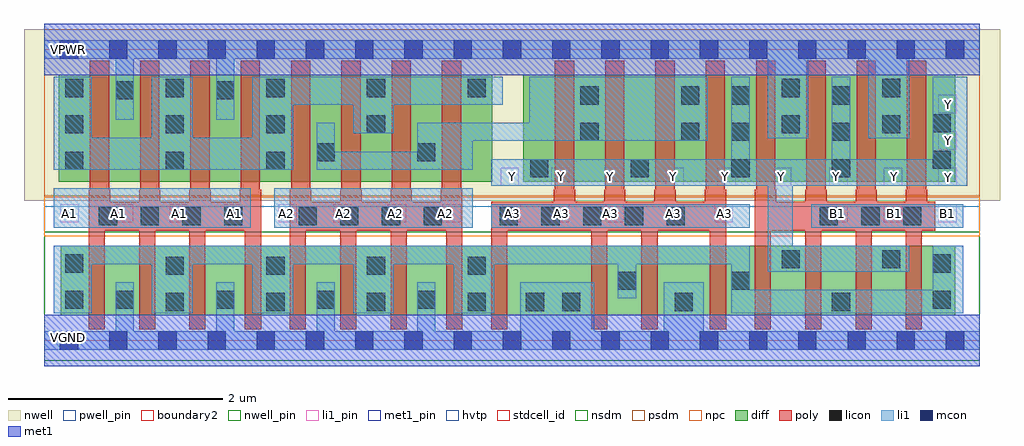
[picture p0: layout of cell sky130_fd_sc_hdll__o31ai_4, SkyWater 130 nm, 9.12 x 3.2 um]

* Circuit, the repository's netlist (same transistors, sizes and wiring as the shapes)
* Copyright 2020 The SkyWater PDK Authors
*
* Licensed under the Apache License, Version 2.0 (the "License");
* you may not use this file except in compliance with the License.
* You may obtain a copy of the License at
*
*     https://www.apache.org/licenses/LICENSE-2.0
*
* Unless required by applicable law or agreed to in writing, software
* distributed under the License is distributed on an "AS IS" BASIS,
* WITHOUT WARRANTIES OR CONDITIONS OF ANY KIND, either express or implied.
* See the License for the specific language governing permissions and
* limitations under the License.
*
* SPDX-License-Identifier: Apache-2.0

.SUBCKT sky130_fd_sc_hdll__o31ai_4 A1 A2 A3 B1 VGND VNB VPB VPWR Y
*.PININFO A1:I A2:I A3:I B1:I VGND:I VNB:I VPB:I VPWR:I Y:O
MMPA0 VPWR A1 sndA1 VPB sky130_fd_pr__pfet_01v8_hvt m=4 w=1.0U l=0.18U mult=1 sa=0.265
+ sb=0.265 sd=0.28 area=0.063 perim=1.14
MMPA1 sndA1 A2 sndA2 VPB sky130_fd_pr__pfet_01v8_hvt m=4 w=1.0U l=0.18U mult=1
+ sa=0.265 sb=0.265 sd=0.28 area=0.063 perim=1.14
MMPA2 sndA2 A3 Y VPB sky130_fd_pr__pfet_01v8_hvt m=4 w=1.0U l=0.18U mult=1 sa=0.265
+ sb=0.265 sd=0.28 area=0.063 perim=1.14
MMPB0 VPWR B1 Y VPB sky130_fd_pr__pfet_01v8_hvt m=4 w=1.0U l=0.18U mult=1 sa=0.265
+ sb=0.265 sd=0.28 area=0.063 perim=1.14
MMNA0 pndA A1 VGND VNB sky130_fd_pr__nfet_01v8 m=4 w=0.65U l=0.15U mult=1 sa=0.265
+ sb=0.265 sd=0.28 area=0.063 perim=1.14
MMNA1 pndA A2 VGND VNB sky130_fd_pr__nfet_01v8 m=4 w=0.65U l=0.15U mult=1 sa=0.265
+ sb=0.265 sd=0.28 area=0.063 perim=1.14
MMNA2 pndA A3 VGND VNB sky130_fd_pr__nfet_01v8 m=4 w=0.65U l=0.15U mult=1 sa=0.265
+ sb=0.265 sd=0.28 area=0.063 perim=1.14
MMNB0 Y B1 pndA VNB sky130_fd_pr__nfet_01v8 m=4 w=0.65U l=0.15U mult=1 sa=0.265
+ sb=0.265 sd=0.28 area=0.063 perim=1.14
.ENDS sky130_fd_sc_hdll__o31ai_4

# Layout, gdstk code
import gdstk
lib = gdstk.Library(unit=1e-6, precision=1e-09)
def R(c, l, rs):  # rectangles x0, y0, x1, y1
    for r in rs: c.add(gdstk.rectangle(r[:2], r[2:], *l))
def A(c, l, x, y, w, h, nx, ny, dx, dy):  # array of equal rectangles
    R(c, l, [(x+i*dx, y+j*dy, x+i*dx+w, y+j*dy+h) for i in range(nx) for j in range(ny)])
def P(c, l, *ps):  # polygons
    for p in ps: c.add(gdstk.Polygon(p, *l))
nwell_pin = (64, 16)
nwell = (64, 20)
diff = (65, 20)
poly = (66, 20)
licon = (66, 44)
li1_pin = (67, 16)
li1 = (67, 20)
mcon = (67, 44)
met1_pin = (68, 16)
met1 = (68, 20)
hvtp = (78, 44)
stdcell_id = (81, 4)
nsdm = (93, 44)
psdm = (94, 20)
npc = (95, 20)
pwell_pin = (122, 16)
boundary2 = (236, 0)

sky130_fd_sc_hdll__o31ai = lib.new_cell('sky130_fd_sc_hdll__o31ai_4')
R(sky130_fd_sc_hdll__o31ai, nwell_pin, [(0.145,2.635,0.315,2.805)])
R(sky130_fd_sc_hdll__o31ai, nwell, [(-0.19,1.305,8.93,2.91)])
R(sky130_fd_sc_hdll__o31ai, diff, [(0.155,0.235,8.51,0.885), (0.135,1.485,4.185,2.485), (4.475,1.485,8.51,2.485)])
P(sky130_fd_sc_hdll__o31ai, poly, [(2.025,1.41),(2.015,1.41),(2.015,2.615),(1.835,2.615),(1.835,1.41),(1.825,1.41),(1.825,1.295),(1.555,1.295),(1.555,1.41),(1.545,1.41),(1.545,2.615),(1.365,2.615),(1.365,1.41),(1.355,1.41),(1.355,1.295),(1.085,1.295),(1.085,1.41),(1.075,1.41),(1.075,2.615),(0.895,2.615),(0.895,1.41),(0.885,1.41),(0.885,1.295),(0.615,1.295),(0.615,1.41),(0.605,1.41),(0.605,2.615),(0.425,2.615),(0.425,1.41),(0.415,1.41),(0.415,0.105),(0.565,0.105),(0.565,1.025),(0.885,1.025),(0.885,0.105),(1.035,0.105),(1.035,1.025),(1.355,1.025),(1.355,0.105),(1.505,0.105),(1.505,1.025),(1.875,1.025),(1.875,0.105),(2.025,0.105)],
  [(3.905,1.41),(3.895,1.41),(3.895,2.615),(3.715,2.615),(3.715,1.41),(3.705,1.41),(3.705,1.295),(3.435,1.295),(3.435,1.41),(3.425,1.41),(3.425,2.615),(3.245,2.615),(3.245,1.41),(3.235,1.41),(3.235,1.295),(2.965,1.295),(2.965,1.41),(2.955,1.41),(2.955,2.615),(2.775,2.615),(2.775,1.41),(2.765,1.41),(2.765,1.295),(2.495,1.295),(2.495,1.41),(2.485,1.41),(2.485,2.615),(2.305,2.615),(2.305,1.41),(2.295,1.41),(2.295,0.105),(2.445,0.105),(2.445,1.025),(2.765,1.025),(2.765,0.105),(2.915,0.105),(2.915,1.025),(3.235,1.025),(3.235,0.105),(3.385,0.105),(3.385,1.025),(3.755,1.025),(3.755,0.105),(3.905,0.105)],
  [(6.37,1.41),(6.36,1.41),(6.36,2.615),(6.18,2.615),(6.18,1.41),(6.17,1.41),(6.17,1.295),(5.9,1.295),(5.9,1.41),(5.89,1.41),(5.89,2.615),(5.71,2.615),(5.71,1.41),(5.7,1.41),(5.7,1.295),(5.43,1.295),(5.43,1.41),(5.42,1.41),(5.42,2.615),(5.24,2.615),(5.24,1.41),(5.23,1.41),(5.23,1.295),(4.96,1.295),(4.96,1.41),(4.95,1.41),(4.95,2.615),(4.77,2.615),(4.77,1.41),(4.76,1.41),(4.76,1.295),(4.175,1.295),(4.175,0.105),(4.325,0.105),(4.325,1.025),(5.11,1.025),(5.11,0.105),(5.26,0.105),(5.26,1.025),(5.58,1.025),(5.58,0.105),(5.73,0.105),(5.73,1.025),(6.22,1.025),(6.22,0.105),(6.37,0.105)],
  [(8.325,1.295),(8.25,1.295),(8.25,1.41),(8.24,1.41),(8.24,2.615),(8.06,2.615),(8.06,1.41),(8.05,1.41),(8.05,1.295),(7.78,1.295),(7.78,1.41),(7.77,1.41),(7.77,2.615),(7.59,2.615),(7.59,1.41),(7.58,1.41),(7.58,1.295),(7.31,1.295),(7.31,1.41),(7.3,1.41),(7.3,2.615),(7.12,2.615),(7.12,1.41),(7.11,1.41),(7.11,1.295),(6.84,1.295),(6.84,1.41),(6.83,1.41),(6.83,2.615),(6.65,2.615),(6.65,1.41),(6.64,1.41),(6.64,0.105),(6.79,0.105),(6.79,1.025),(7.11,1.025),(7.11,0.105),(7.26,0.105),(7.26,1.025),(7.58,1.025),(7.58,0.105),(7.73,0.105),(7.73,1.025),(8.05,1.025),(8.05,0.105),(8.2,0.105),(8.2,1.025),(8.325,1.025)])
A(sky130_fd_sc_hdll__o31ai, licon, 1.135, 0.275, 0.17, 0.17, 4, 2, 0.94, 0.34)
A(sky130_fd_sc_hdll__o31ai, licon, 0.665, 0.295, 0.17, 0.17, 4, 1, 0.94, 0)
A(sky130_fd_sc_hdll__o31ai, licon, 0.51, 1.075, 0.17, 0.17, 4, 1, 0.39, 0)
A(sky130_fd_sc_hdll__o31ai, licon, 2.375, 1.075, 0.17, 0.17, 4, 1, 0.39, 0)
A(sky130_fd_sc_hdll__o31ai, licon, 4.255, 1.075, 0.17, 0.17, 5, 1, 0.39, 0)
A(sky130_fd_sc_hdll__o31ai, licon, 7.245, 1.075, 0.17, 0.17, 3, 1, 0.39, 0)
A(sky130_fd_sc_hdll__o31ai, licon, 4.54, 1.525, 0.17, 0.17, 4, 1, 0.94, 0)
A(sky130_fd_sc_hdll__o31ai, licon, 0.195, 1.595, 0.17, 0.17, 3, 1, 0.94, 0)
A(sky130_fd_sc_hdll__o31ai, licon, 0.195, 1.935, 0.17, 0.17, 4, 1, 0.94, 0)
A(sky130_fd_sc_hdll__o31ai, licon, 0.195, 2.275, 0.17, 0.17, 5, 1, 0.94, 0)
R(sky130_fd_sc_hdll__o31ai, licon, [(4.5,0.275,4.67,0.445), (4.84,0.275,5.01,0.445), (5.89,0.275,6.06,0.445), (7.36,0.275,7.53,0.445), (0.195,0.295,0.365,0.465), (8.3,0.295,8.47,0.465), (5.36,0.475,5.53,0.645), (6.42,0.475,6.59,0.645), (0.195,0.635,0.365,0.805), (8.3,0.635,8.47,0.805), (6.89,0.675,7.06,0.845), (7.83,0.675,8,0.845), (8.3,1.605,8.47,1.775), (2.545,1.675,2.715,1.845), (3.485,1.675,3.655,1.845), (5.01,1.865,5.18,2.035), (5.95,1.865,6.12,2.035), (6.42,1.865,6.59,2.035), (7.36,1.865,7.53,2.035), (6.89,1.935,7.06,2.105), (7.83,1.935,8,2.105), (8.3,1.945,8.47,2.115), (5.01,2.205,5.18,2.375), (5.95,2.205,6.12,2.375), (6.42,2.205,6.59,2.375), (7.36,2.205,7.53,2.375), (0.665,2.255,0.835,2.425), (1.605,2.255,1.775,2.425), (6.89,2.275,7.06,2.445), (7.83,2.275,8,2.445)])
A(sky130_fd_sc_hdll__o31ai, li1_pin, 0.15, 1.105, 0.17, 0.17, 8, 1, 0.51, 0)
A(sky130_fd_sc_hdll__o31ai, li1_pin, 7.335, 1.105, 0.17, 0.17, 3, 2, 0.51, 0.34)
R(sky130_fd_sc_hdll__o31ai, li1_pin, [(4.28,1.105,4.45,1.275), (4.735,1.105,4.905,1.275), (5.245,1.105,5.415,1.275), (5.805,1.105,5.975,1.275), (6.265,1.105,6.435,1.275), (4.265,1.445,4.435,1.615), (4.735,1.445,4.905,1.615), (5.235,1.445,5.405,1.615), (5.805,1.445,5.975,1.615), (6.29,1.445,6.46,1.615), (6.81,1.445,6.98,1.615), (8.355,1.785,8.525,1.955), (8.355,2.125,8.525,2.295)])
R(sky130_fd_sc_hdll__o31ai, li1, [(0.09,1.055,1.93,1.425), (2.15,1.055,4.005,1.425), (4.175,1.055,6.59,1.275), (7.165,1.055,8.585,1.275)])
P(sky130_fd_sc_hdll__o31ai, li1, [(8.625,2.465),(8.3,2.465),(8.3,1.695),(7.53,1.695),(7.53,2.465),(7.36,2.465),(7.36,1.695),(6.59,1.695),(6.59,2.465),(6.42,2.465),(6.42,1.695),(4.175,1.695),(4.175,1.445),(6.76,1.445),(6.76,0.645),(8.08,0.645),(8.08,0.885),(6.995,0.885),(6.995,1.445),(8.625,1.445)],
  [(8.585,0.885),(8.3,0.885),(8.3,0.475),(6.59,0.475),(6.59,0.885),(0.09,0.885),(0.09,0.255),(0.445,0.255),(0.445,0.715),(1.005,0.715),(1.005,0.255),(1.385,0.255),(1.385,0.715),(1.945,0.715),(1.945,0.255),(2.325,0.255),(2.325,0.715),(2.885,0.715),(2.885,0.255),(3.265,0.255),(3.265,0.715),(3.825,0.715),(3.825,0.255),(4.205,0.255),(4.205,0.715),(5.36,0.715),(5.36,0.395),(5.53,0.395),(5.53,0.715),(6.42,0.715),(6.42,0.255),(8.585,0.255)],
  [(4.285,2.465),(1.945,2.465),(1.945,1.895),(1.385,1.895),(1.385,2.465),(1.005,2.465),(1.005,1.895),(0.445,1.895),(0.445,2.465),(0.09,2.465),(0.09,1.595),(2.325,1.595),(2.325,2.205),(2.885,2.205),(2.885,1.935),(3.265,1.935),(3.265,2.205),(4.285,2.205)],
  [(6.2,2.465),(4.53,2.465),(4.53,2.035),(3.485,2.035),(3.485,1.765),(2.715,1.765),(2.715,2.035),(2.545,2.035),(2.545,1.595),(4.005,1.595),(4.005,1.865),(6.2,1.865)],
  [(8.74,0.085),(6.16,0.085),(6.16,0.545),(5.79,0.545),(5.79,0.085),(5.14,0.085),(5.14,0.545),(4.445,0.545),(4.445,0.085),(3.655,0.085),(3.655,0.545),(3.485,0.545),(3.485,0.085),(2.715,0.085),(2.715,0.545),(2.545,0.545),(2.545,0.085),(1.775,0.085),(1.775,0.545),(1.605,0.545),(1.605,0.085),(0.835,0.085),(0.835,0.545),(0.665,0.545),(0.665,0.085),(0,0.085),(0,-0.085),(8.74,-0.085)],
  [(8.74,2.805),(0,2.805),(0,2.635),(0.665,2.635),(0.665,2.065),(0.835,2.065),(0.835,2.635),(1.605,2.635),(1.605,2.065),(1.775,2.065),(1.775,2.635),(6.76,2.635),(6.76,1.89),(7.14,1.89),(7.14,2.635),(7.7,2.635),(7.7,1.89),(8.08,1.89),(8.08,2.635),(8.74,2.635)])
A(sky130_fd_sc_hdll__o31ai, mcon, 0.145, -0.085, 0.17, 0.17, 19, 2, 0.46, 2.72)
R(sky130_fd_sc_hdll__o31ai, met1_pin, [(0.145,-0.085,0.315,0.085), (0.145,2.635,0.315,2.805)])
R(sky130_fd_sc_hdll__o31ai, met1, [(0,-0.24,8.74,0.24), (0,2.48,8.74,2.96)])
R(sky130_fd_sc_hdll__o31ai, hvtp, [(0,1.25,8.74,2.72)])
R(sky130_fd_sc_hdll__o31ai, stdcell_id, [(0,0,8.74,2.72)])
R(sky130_fd_sc_hdll__o31ai, nsdm, [(0,-0.19,8.74,1.015)])
R(sky130_fd_sc_hdll__o31ai, psdm, [(0,1.355,8.74,2.91)])
R(sky130_fd_sc_hdll__o31ai, npc, [(0,0.975,8.74,1.345)])
R(sky130_fd_sc_hdll__o31ai, pwell_pin, [(0.145,-0.085,0.315,0.085)])
R(sky130_fd_sc_hdll__o31ai, boundary2, [(0,0,8.74,2.72)])
sky130_fd_sc_hdll__o31ai.add(gdstk.Label('A3', (5.29,1.19), layer=67, texttype=5))
sky130_fd_sc_hdll__o31ai.add(gdstk.Label('A3', (4.83,1.19), layer=67, texttype=5))
sky130_fd_sc_hdll__o31ai.add(gdstk.Label('A3', (4.37,1.19), layer=67, texttype=5))
sky130_fd_sc_hdll__o31ai.add(gdstk.Label('A3', (6.355,1.19), layer=67, texttype=5))
sky130_fd_sc_hdll__o31ai.add(gdstk.Label('A2', (3.75,1.19), layer=67, texttype=5))
sky130_fd_sc_hdll__o31ai.add(gdstk.Label('A2', (3.285,1.19), layer=67, texttype=5))
sky130_fd_sc_hdll__o31ai.add(gdstk.Label('A2', (2.795,1.19), layer=67, texttype=5))
sky130_fd_sc_hdll__o31ai.add(gdstk.Label('A2', (2.265,1.19), layer=67, texttype=5))
sky130_fd_sc_hdll__o31ai.add(gdstk.Label('A1', (1.78,1.19), layer=67, texttype=5))
sky130_fd_sc_hdll__o31ai.add(gdstk.Label('A1', (1.265,1.19), layer=67, texttype=5))
sky130_fd_sc_hdll__o31ai.add(gdstk.Label('A1', (0.695,1.19), layer=67, texttype=5))
sky130_fd_sc_hdll__o31ai.add(gdstk.Label('A1', (0.235,1.19), layer=67, texttype=5))
sky130_fd_sc_hdll__o31ai.add(gdstk.Label('Y', (4.37,1.53), layer=67, texttype=5))
sky130_fd_sc_hdll__o31ai.add(gdstk.Label('Y', (4.83,1.53), layer=67, texttype=5))
sky130_fd_sc_hdll__o31ai.add(gdstk.Label('Y', (5.29,1.53), layer=67, texttype=5))
sky130_fd_sc_hdll__o31ai.add(gdstk.Label('Y', (5.88,1.53), layer=67, texttype=5))
sky130_fd_sc_hdll__o31ai.add(gdstk.Label('Y', (6.885,1.53), layer=67, texttype=5))
sky130_fd_sc_hdll__o31ai.add(gdstk.Label('Y', (7.405,1.53), layer=67, texttype=5))
sky130_fd_sc_hdll__o31ai.add(gdstk.Label('Y', (7.945,1.53), layer=67, texttype=5))
sky130_fd_sc_hdll__o31ai.add(gdstk.Label('Y', (8.45,2.21), layer=67, texttype=5))
sky130_fd_sc_hdll__o31ai.add(gdstk.Label('Y', (8.45,1.87), layer=67, texttype=5))
sky130_fd_sc_hdll__o31ai.add(gdstk.Label('B1', (7.415,1.19), layer=67, texttype=5))
sky130_fd_sc_hdll__o31ai.add(gdstk.Label('B1', (7.94,1.19), layer=67, texttype=5))
sky130_fd_sc_hdll__o31ai.add(gdstk.Label('Y', (8.45,1.525), layer=67, texttype=5))
sky130_fd_sc_hdll__o31ai.add(gdstk.Label('B1', (8.44,1.19), layer=67, texttype=5))
sky130_fd_sc_hdll__o31ai.add(gdstk.Label('A3', (5.875,1.19), layer=67, texttype=5))
sky130_fd_sc_hdll__o31ai.add(gdstk.Label('Y', (6.365,1.53), layer=67, texttype=5))
sky130_fd_sc_hdll__o31ai.add(gdstk.Label('VGND', (0.23,0.03), layer=68, texttype=5))
sky130_fd_sc_hdll__o31ai.add(gdstk.Label('VPWR', (0.23,2.72), layer=68, texttype=5))
sky130_fd_sc_hdll__o31ai.add(gdstk.Label('VPB', (0.23,2.72), layer=64, texttype=5))
sky130_fd_sc_hdll__o31ai.add(gdstk.Label('VNB', (0.23,0), layer=64, texttype=59))
sky130_fd_sc_hdll__o31ai.add(gdstk.Label('o31ai_4', (0,0), layer=83, texttype=44))

lib.write_gds('sky130_fd_sc_hdll__o31ai_4.gds')
